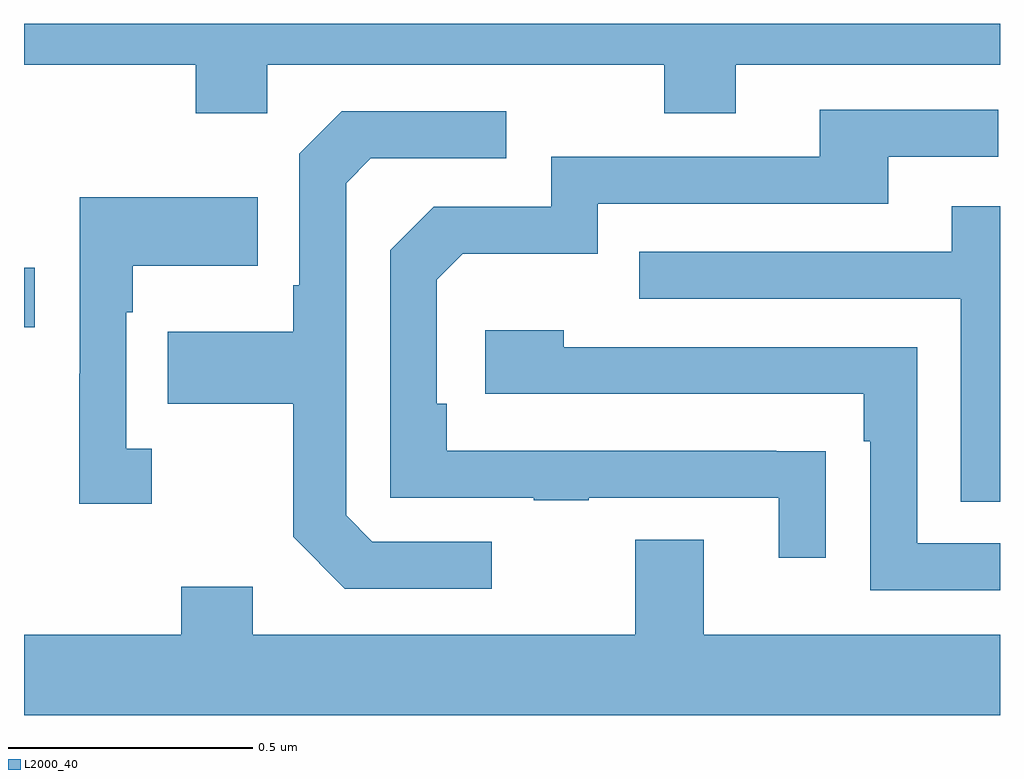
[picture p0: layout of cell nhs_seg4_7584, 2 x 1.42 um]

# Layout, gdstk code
import gdstk
lib = gdstk.Library(unit=1e-6, precision=1e-09)
def R(c, l, rs):  # rectangles x0, y0, x1, y1
    for r in rs: c.add(gdstk.rectangle(r[:2], r[2:], *l))
def P(c, l, *ps):  # polygons
    for p in ps: c.add(gdstk.Polygon(p, *l))
L2000_40 = (2000, 40)

nhs_seg4_7584 = lib.new_cell('nhs_seg4_7584')
R(nhs_seg4_7584, L2000_40, [(204,800.279,204.022,800.401)])
P(nhs_seg4_7584, L2000_40, [(204.498,800.816),(205.312,800.816),(205.312,800.717),(205.459,800.717),(205.459,800.816),(206,800.816),(206,800.9),(204,800.9),(204,800.816),(204.352,800.816),(204.352,800.717),(204.498,800.717)],
  [(205.643,800.024),(205.541,800.024),(205.541,800.025),(204.866,800.025),(204.866,800.122),(204.846,800.122),(204.846,800.376),(204.899,800.429),(205.176,800.429),(205.176,800.532),(205.771,800.532),(205.771,800.628),(205.996,800.628),(205.996,800.724),(205.631,800.724),(205.631,800.628),(205.08,800.628),(205.08,800.526),(204.84,800.526),(204.75,800.436),(204.75,799.929),(205.045,799.929),(205.045,799.924),(205.157,799.924),(205.157,799.929),(205.547,799.929),(205.547,799.806),(205.643,799.806)],
  [(204.958,799.839),(204.714,799.839),(204.66,799.893),(204.66,800.574),(204.711,800.625),(204.988,800.625),(204.988,800.721),(204.651,800.721),(204.564,800.634),(204.564,800.365),(204.552,800.365),(204.552,800.269),(204.295,800.269),(204.295,800.122),(204.552,800.122),(204.552,799.849),(204.657,799.743),(204.958,799.743)],
  [(204.262,800.03),(204.21,800.03),(204.21,800.309),(204.223,800.309),(204.223,800.405),(204.479,800.405),(204.479,800.545),(204.114,800.545),(204.114,800.183),(204.113,800.183),(204.113,799.917),(204.262,799.917)],
  [(206,800.527),(205.901,800.527),(205.901,800.433),(205.261,800.433),(205.261,800.337),(205.92,800.337),(205.92,799.921),(206,799.921)],
  [(206,799.836),(205.83,799.836),(205.83,800.238),(205.106,800.238),(205.106,800.272),(204.945,800.272),(204.945,800.142),(205.721,800.142),(205.721,800.045),(205.734,800.045),(205.734,799.74),(206,799.74)],
  [(206,799.648),(205.393,799.648),(205.393,799.843),(205.253,799.843),(205.253,799.648),(204.469,799.648),(204.469,799.747),(204.322,799.747),(204.322,799.648),(204,799.648),(204,799.484),(206,799.484)])

lib.write_gds('nhs_seg4_7584.gds')
